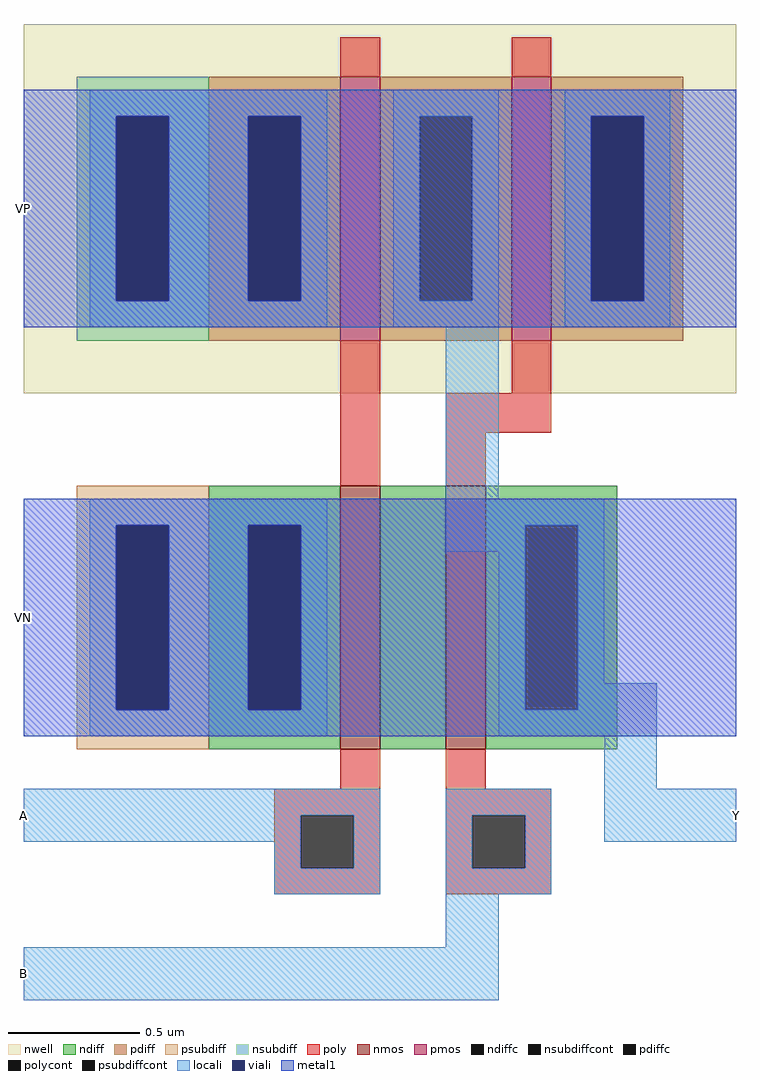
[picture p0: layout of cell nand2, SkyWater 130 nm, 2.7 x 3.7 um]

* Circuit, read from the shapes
.subckt nand2 A B Y VP VN
XM1 n1 A VN VN sky130_fd_pr__nfet_01v8 w=1 l=0.15
XM2 Y B n1 VN sky130_fd_pr__nfet_01v8 w=1 l=0.15
XM3 Y A VP VP sky130_fd_pr__pfet_01v8 w=1 l=0.15
XM4 VP B Y VP sky130_fd_pr__pfet_01v8 w=1 l=0.15
.ends

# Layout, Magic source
magic
tech sky130A
<< nwell >>
rect -140 -70 130 70
<< nmos >>
rect -20 -205 -5 -105
rect 20 -205 35 -105
<< pmos >>
rect -20 -50 -5 50
rect 45 -50 60 50
<< ndiff >>
rect -70 -120 -20 -105
rect -70 -190 -55 -120
rect -35 -190 -20 -120
rect -70 -205 -20 -190
rect -5 -205 20 -105
rect 35 -120 85 -105
rect 35 -190 50 -120
rect 70 -190 85 -120
rect 35 -205 85 -190
<< pdiff >>
rect -70 35 -20 50
rect -70 -35 -55 35
rect -35 -35 -20 35
rect -70 -50 -20 -35
rect -5 35 45 50
rect -5 -35 10 35
rect 30 -35 45 35
rect -5 -50 45 -35
rect 60 35 110 50
rect 60 -35 75 35
rect 95 -35 110 35
rect 60 -50 110 -35
<< ndiffc >>
rect -55 -190 -35 -120
rect 50 -190 70 -120
<< pdiffc >>
rect -55 -35 -35 35
rect 10 -35 30 35
rect 75 -35 95 35
<< psubdiff >>
rect -120 -120 -70 -105
rect -120 -190 -105 -120
rect -85 -190 -70 -120
rect -120 -205 -70 -190
<< nsubdiff >>
rect -120 35 -70 50
rect -120 -35 -105 35
rect -85 -35 -70 35
rect -120 -50 -70 -35
<< psubdiffcont >>
rect -105 -190 -85 -120
<< nsubdiffcont >>
rect -105 -35 -85 35
<< poly >>
rect -20 50 -5 65
rect 45 50 60 65
rect -20 -105 -5 -50
rect 45 -70 60 -50
rect 20 -85 60 -70
rect 20 -105 35 -85
rect -20 -220 -5 -205
rect -45 -230 -5 -220
rect -45 -250 -35 -230
rect -15 -250 -5 -230
rect -45 -260 -5 -250
rect 20 -220 35 -205
rect 20 -230 60 -220
rect 20 -250 30 -230
rect 50 -250 60 -230
rect 20 -260 60 -250
<< polycont >>
rect -35 -250 -15 -230
rect 30 -250 50 -230
<< locali >>
rect -115 35 -25 45
rect -115 -35 -105 35
rect -85 -35 -55 35
rect -35 -35 -25 35
rect -115 -45 -25 -35
rect 0 35 40 45
rect 0 -35 10 35
rect 30 -35 40 35
rect 0 -45 40 -35
rect 65 35 105 45
rect 65 -35 75 35
rect 95 -35 105 35
rect 65 -45 105 -35
rect 20 -110 40 -45
rect -115 -120 -25 -110
rect -115 -190 -105 -120
rect -85 -190 -55 -120
rect -35 -190 -25 -120
rect 20 -120 80 -110
rect 20 -130 50 -120
rect -115 -200 -25 -190
rect 40 -190 50 -130
rect 70 -180 80 -120
rect 70 -190 100 -180
rect 40 -200 100 -190
rect 80 -220 100 -200
rect -140 -230 -5 -220
rect -140 -240 -35 -230
rect -45 -250 -35 -240
rect -15 -250 -5 -230
rect -45 -260 -5 -250
rect 20 -230 60 -220
rect 20 -250 30 -230
rect 50 -250 60 -230
rect 80 -240 130 -220
rect 20 -260 60 -250
rect 20 -280 40 -260
rect -140 -300 40 -280
<< viali >>
rect -105 -35 -85 35
rect -55 -35 -35 35
rect 75 -35 95 35
rect -105 -190 -85 -120
rect -55 -190 -35 -120
<< metal1 >>
rect -140 35 130 45
rect -140 -35 -105 35
rect -85 -35 -55 35
rect -35 -35 75 35
rect 95 -35 130 35
rect -140 -45 130 -35
rect -140 -120 130 -110
rect -140 -190 -105 -120
rect -85 -190 -55 -120
rect -35 -190 130 -120
rect -140 -200 130 -190
<< labels >>
rlabel locali -140 -230 -140 -230 7 A
port 1 w
rlabel locali -140 -290 -140 -290 7 B
port 2 w
rlabel locali 130 -230 130 -230 3 Y
port 3 e
rlabel metal1 -140 0 -140 0 7 VP
port 4 w
rlabel metal1 -140 -155 -140 -155 7 VN
port 5 w
<< end >>
